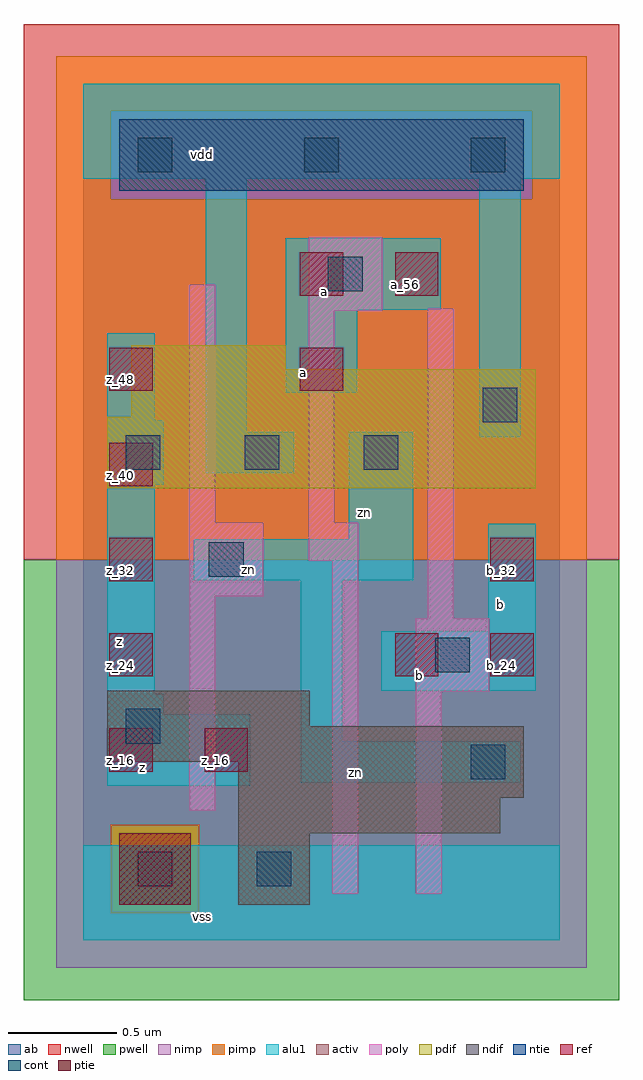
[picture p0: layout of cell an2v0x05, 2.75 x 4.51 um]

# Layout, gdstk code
import gdstk
lib = gdstk.Library(unit=1e-6, precision=2.5e-09)
def R(c, l, rs):  # rectangles x0, y0, x1, y1
    for r in rs: c.add(gdstk.rectangle(r[:2], r[2:], *l))
def A(c, l, x, y, w, h, nx, ny, dx, dy):  # array of equal rectangles
    R(c, l, [(x+i*dx, y+j*dy, x+i*dx+w, y+j*dy+h) for i in range(nx) for j in range(ny)])
ndif = (3, 0)
pdif = (4, 0)
ntie = (5, 0)
ptie = (6, 0)
ref = (24, 0)
cont = (25, 0)
pwell = (41, 0)
nwell = (42, 0)
activ = (43, 0)
pimp = (44, 0)
nimp = (45, 0)
poly = (46, 0)
alu1 = (49, 0)
ab = (63, 0)

an2v0x05 = lib.new_cell('an2v0x05')
R(an2v0x05, ndif, [(0.715,0.165,1.045,0.495), (0.715,0.495,1.925,0.66), (0.715,0.66,2.035,0.825), (0.11,0.825,2.035,0.99), (0.11,0.99,1.045,1.155)])
R(an2v0x05, pdif, [(0.11,2.09,2.09,2.42), (0.22,2.42,2.09,2.64), (0.22,2.64,0.935,2.75)])
R(an2v0x05, ntie, [(0.165,3.465,2.035,3.795)])
R(an2v0x05, ptie, [(0.165,0.165,0.495,0.495)])
A(an2v0x05, ref, 0.12, 0.78, 0.2, 0.2, 1, 5, 0, 0.44)
R(an2v0x05, ref, [(0.56,0.78,0.76,0.98), (1.44,1.22,1.64,1.42), (1.88,1.22,2.08,1.42), (1.88,1.66,2.08,1.86), (1,2.54,1.2,2.74), (1,2.98,1.2,3.18), (1.44,2.98,1.64,3.18)])
A(an2v0x05, cont, 0.195, 2.175, 0.16, 0.16, 3, 1, 0.55, 0)
A(an2v0x05, cont, 0.25, 3.55, 0.16, 0.16, 3, 1, 0.77, 0)
R(an2v0x05, cont, [(0.25,0.25,0.41,0.41), (0.8,0.25,0.96,0.41), (1.79,0.745,1.95,0.905), (0.195,0.91,0.355,1.07), (1.625,1.24,1.785,1.4), (0.58,1.68,0.74,1.84), (1.845,2.395,2.005,2.555), (1.13,3,1.29,3.16)])
R(an2v0x05, pwell, [(-0.275,-0.275,2.475,1.76)])
R(an2v0x05, nwell, [(-0.275,1.76,2.475,4.235)])
R(an2v0x05, activ, [(0.165,0.165,0.495,0.495), (0.715,0.165,1.045,0.495), (0.715,0.495,1.925,0.66), (0.715,0.66,2.035,0.825), (0.11,0.825,2.035,0.99), (0.11,0.99,1.045,1.155), (0.11,2.09,2.09,2.42), (0.22,2.42,2.09,2.64), (0.22,2.64,0.935,2.75), (0.165,3.465,2.035,3.795)])
R(an2v0x05, pimp, [(0.125,0.125,0.535,0.535), (-0.125,1.76,2.325,3.425), (-0.125,3.425,0.125,3.835), (2.075,3.425,2.325,3.835), (-0.125,3.835,2.325,4.085)])
R(an2v0x05, nimp, [(-0.125,-0.125,2.325,0.125), (-0.125,0.125,0.125,0.535), (0.535,0.125,2.325,0.535), (-0.125,0.535,2.325,1.76), (0.125,3.425,2.075,3.835)])
R(an2v0x05, poly, [(1.15,0.215,1.27,1.755), (1.535,0.215,1.655,1.15), (0.49,0.6,0.61,1.59), (1.535,1.15,1.875,1.49), (1.59,1.49,1.71,2.92), (0.49,1.59,0.83,1.93), (1.04,1.755,1.27,1.93), (0.49,1.93,0.61,3.03), (1.04,1.93,1.16,2.91), (1.04,2.91,1.38,3.25)])
R(an2v0x05, alu1, [(0,0,2.2,0.44), (0.11,0.715,0.77,1.045), (1.005,0.73,2.02,0.92), (1.005,0.92,1.195,1.665), (0.11,1.045,0.37,1.14), (0.11,1.14,0.33,2.105), (1.375,1.155,2.09,1.43), (1.87,1.43,2.09,1.925), (0.51,1.665,1.525,1.855), (1.225,1.855,1.525,2.35), (0.11,2.105,0.37,2.405), (0.565,2.16,0.975,2.35), (1.83,2.325,2.02,3.52), (0.565,2.35,0.755,3.52), (0.11,2.405,0.33,2.805), (0.935,2.53,1.265,2.915), (0.935,2.915,1.65,3.245), (0,3.52,2.2,3.96)])
R(an2v0x05, ab, [(0,0,2.2,3.96)])
an2v0x05.add(gdstk.Label('vss', (0.55,0.11), layer=49, texttype=0))
an2v0x05.add(gdstk.Label('zn', (1.2575,0.7775), layer=49, texttype=0))
an2v0x05.add(gdstk.Label('b', (1.5525,1.2225), layer=49, texttype=0))
an2v0x05.add(gdstk.Label('b', (1.925,1.5525), layer=49, texttype=0))
an2v0x05.add(gdstk.Label('z', (0.275,0.7975), layer=49, texttype=0))
an2v0x05.add(gdstk.Label('zn', (0.7625,1.7125), layer=49, texttype=0))
an2v0x05.add(gdstk.Label('zn', (1.3,1.9775), layer=49, texttype=0))
an2v0x05.add(gdstk.Label('z', (0.165,1.38), layer=49, texttype=0))
an2v0x05.add(gdstk.Label('a', (1.0175,2.625), layer=49, texttype=0))
an2v0x05.add(gdstk.Label('a', (1.1125,2.9975), layer=49, texttype=0))
an2v0x05.add(gdstk.Label('vdd', (0.55,3.63), layer=49, texttype=0))
an2v0x05.add(gdstk.Label('a_48', (1.05,2.59), layer=24, texttype=0))
an2v0x05.add(gdstk.Label('b_32', (1.93,1.71), layer=24, texttype=0))
an2v0x05.add(gdstk.Label('z_48', (0.17,2.59), layer=24, texttype=0))
an2v0x05.add(gdstk.Label('z_40', (0.17,2.15), layer=24, texttype=0))
an2v0x05.add(gdstk.Label('z_32', (0.17,1.71), layer=24, texttype=0))
an2v0x05.add(gdstk.Label('z_24', (0.17,1.27), layer=24, texttype=0))
an2v0x05.add(gdstk.Label('z_16', (0.17,0.83), layer=24, texttype=0))
an2v0x05.add(gdstk.Label('b_24', (1.93,1.27), layer=24, texttype=0))
an2v0x05.add(gdstk.Label('a_56', (1.49,3.03), layer=24, texttype=0))
an2v0x05.add(gdstk.Label('b_24', (1.49,1.27), layer=24, texttype=0))
an2v0x05.add(gdstk.Label('a_56', (1.05,3.03), layer=24, texttype=0))
an2v0x05.add(gdstk.Label('z_16', (0.61,0.83), layer=24, texttype=0))

lib.write_gds('an2v0x05.gds')
